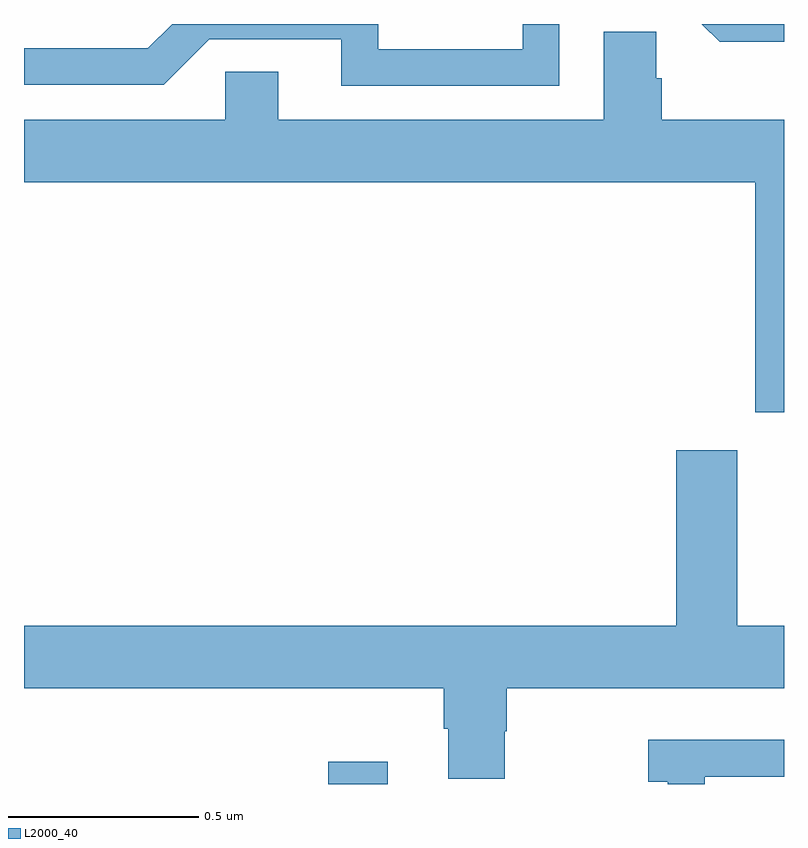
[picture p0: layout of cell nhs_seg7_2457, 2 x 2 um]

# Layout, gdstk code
import gdstk
lib = gdstk.Library(unit=1e-6, precision=1e-09)
def R(c, l, rs):  # rectangles x0, y0, x1, y1
    for r in rs: c.add(gdstk.rectangle(r[:2], r[2:], *l))
def P(c, l, *ps):  # polygons
    for p in ps: c.add(gdstk.Polygon(p, *l))
L2000_40 = (2000, 40)

nhs_seg7_2457 = lib.new_cell('nhs_seg7_2457')
R(nhs_seg7_2457, L2000_40, [(145.801,1031,145.957,1031.059)])
P(nhs_seg7_2457, L2000_40, [(147,1033),(146.784,1033),(146.831,1032.953),(147,1032.953)],
  [(146.409,1033),(146.313,1033),(146.313,1032.933),(145.932,1032.933),(145.932,1033),(145.39,1033),(145.326,1032.936),(145,1032.936),(145,1032.84),(145.368,1032.84),(145.488,1032.96),(145.835,1032.96),(145.835,1032.837),(146.409,1032.837)],
  [(147,1032.748),(146.678,1032.748),(146.678,1032.857),(146.664,1032.857),(146.664,1032.98),(146.525,1032.98),(146.525,1032.748),(145.669,1032.748),(145.669,1032.875),(145.53,1032.875),(145.53,1032.748),(145,1032.748),(145,1032.584),(146.924,1032.584),(146.924,1031.978),(147,1031.978)],
  [(146.265,1031.139),(146.27,1031.139),(146.27,1031.252),(147,1031.252),(147,1031.416),(146.877,1031.416),(146.877,1031.878),(146.717,1031.878),(146.717,1031.416),(145,1031.416),(145,1031.252),(146.105,1031.252),(146.105,1031.146),(146.117,1031.146),(146.117,1031.014),(146.265,1031.014)],
  [(146.791,1031.019),(147,1031.019),(147,1031.116),(146.643,1031.116),(146.643,1031.006),(146.694,1031.006),(146.694,1031),(146.791,1031)])

lib.write_gds('nhs_seg7_2457.gds')
